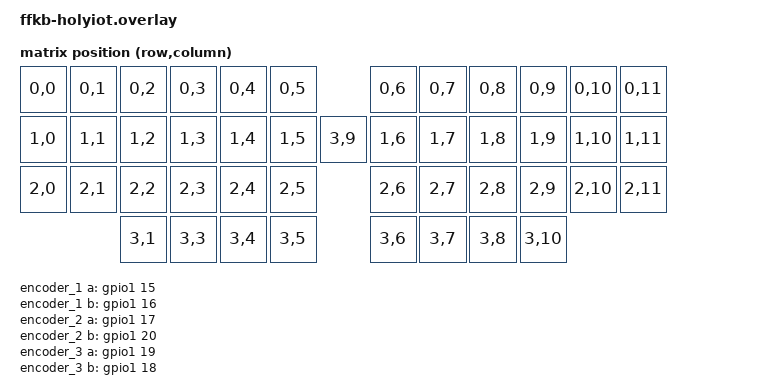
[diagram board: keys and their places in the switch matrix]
/*
 * Copyright (c) 2021 The ZMK Contributors
 *
 * SPDX-License-Identifier: MIT
 */

#include <dt-bindings/zmk/matrix_transform.h>

/ {
    chosen {
        zmk,kscan = &kscan0;
        zmk,matrix_transform = &default_transform;
    };

    // Left encoder
    encoder_1: encoder_1 {
        compatible = "alps,ec11";
        label = "Encoder 1";
        a-gpios = <&gpio1 15 (GPIO_ACTIVE_LOW | GPIO_PULL_UP)>;
        b-gpios = <&gpio1 16 (GPIO_ACTIVE_LOW | GPIO_PULL_UP)>;
        resolution = <4>;
        status = "okay";
    };

    // Right encoder
    encoder_2: encoder_2 {
        compatible = "alps,ec11";
        label = "Encoder 2";
        a-gpios = <&gpio1 17 (GPIO_ACTIVE_LOW | GPIO_PULL_UP)>;
        b-gpios = <&gpio1 20 (GPIO_ACTIVE_LOW | GPIO_PULL_UP)>;
        resolution = <4>;
        status = "okay";
    };

    // Center encoder
    encoder_3: encoder_3 {
        compatible = "alps,ec11";
        label = "Encoder 3";
        a-gpios = <&gpio1 19 (GPIO_ACTIVE_LOW | GPIO_PULL_UP)>;
        b-gpios = <&gpio1 18 (GPIO_ACTIVE_LOW | GPIO_PULL_UP)>;
        resolution = <4>;
        status = "okay";
    };

    sensors {
        compatible = "zmk,keymap-sensors";
        sensors = <&encoder_1 &encoder_2 &encoder_3>;
    };

    kscan0: kscan_0 {
        compatible = "zmk,kscan-gpio-matrix";
        label = "KSCAN";
        diode-direction = "row2col";

        col-gpios
            = <&gpio1 33 (GPIO_ACTIVE_HIGH)> // col 0
            , <&gpio0 27 (GPIO_ACTIVE_HIGH)> // col 1
            , <&gpio1 29 (GPIO_ACTIVE_HIGH)> // col 2
            , <&gpio0 28 (GPIO_ACTIVE_HIGH)> // col 3
            , <&gpio0 30 (GPIO_ACTIVE_HIGH)> // col 4
            , <&gpio0 26 (GPIO_ACTIVE_HIGH)> // col 5
            , <&gpio0 3  (GPIO_ACTIVE_HIGH)> // col 6
            , <&gpio0 4  (GPIO_ACTIVE_HIGH)> // col 7
            , <&gpio1 9  (GPIO_ACTIVE_HIGH)> // col 8
            , <&gpio0 6  (GPIO_ACTIVE_HIGH)> // col 9
            , <&gpio0 5  (GPIO_ACTIVE_HIGH)> // col 10
            , <&gpio0 10 (GPIO_ACTIVE_HIGH)> // col 11
            ;

        row-gpios
            = <&gpio1 35 (GPIO_ACTIVE_HIGH | GPIO_PULL_DOWN)> // row 0
            , <&gpio1 34 (GPIO_ACTIVE_HIGH | GPIO_PULL_DOWN)> // row 1
            , <&gpio1 8  (GPIO_ACTIVE_HIGH | GPIO_PULL_DOWN)> // row 2
            , <&gpio1 7  (GPIO_ACTIVE_HIGH | GPIO_PULL_DOWN)> // row 3
            ;
    };

    default_transform: keymap_transform_0 {
        compatible = "zmk,matrix-transform";
        columns = <12>;
        rows = <4>;

        map = <
             RC(0,0) RC(0,1) RC(0,2) RC(0,3) RC(0,4) RC(0,5)         RC(0,6) RC(0,7) RC(0,8) RC(0,9) RC(0,10) RC(0,11)
             RC(1,0) RC(1,1) RC(1,2) RC(1,3) RC(1,4) RC(1,5) RC(3,9) RC(1,6) RC(1,7) RC(1,8) RC(1,9) RC(1,10) RC(1,11)
             RC(2,0) RC(2,1) RC(2,2) RC(2,3) RC(2,4) RC(2,5)         RC(2,6) RC(2,7) RC(2,8) RC(2,9) RC(2,10) RC(2,11)
                             RC(3,1) RC(3,3) RC(3,4) RC(3,5)         RC(3,6) RC(3,7) RC(3,8) RC(3,10)
        >;
    };
};


